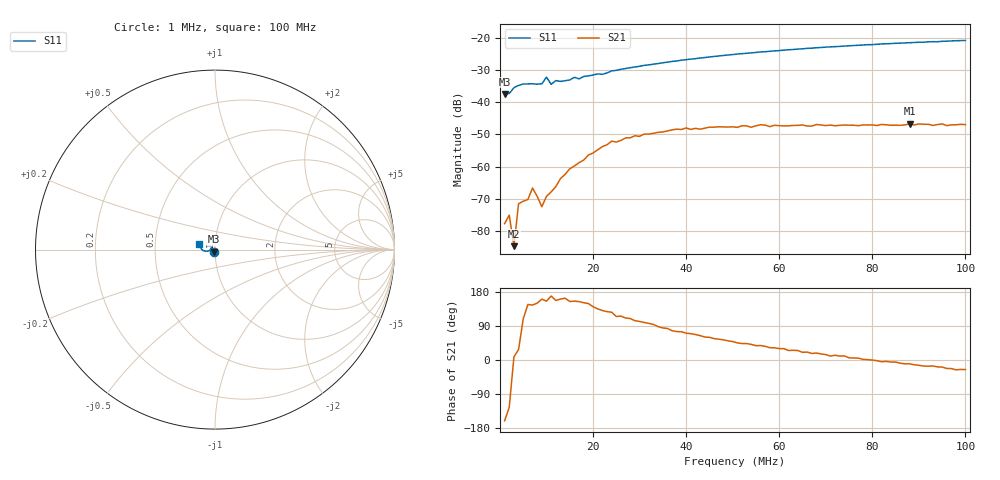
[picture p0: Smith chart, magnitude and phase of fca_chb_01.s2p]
# HZ S RI R 50
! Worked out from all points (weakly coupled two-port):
!   100 points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, 1 MHz to 100 MHz, reference 50 ohm
!   highest |S21| = -46.68 dB at 88 MHz (marker M1); lowest = -84.8 dB at 3 MHz (marker M2)
!   lowest |S11| = -37.4 dB at 1 MHz (marker M3), VSWR 1.03, Z = 49.3 - j1.14 ohm
!   |S11| at or under -10 dB: start of sweep to end of sweep
!   S12 and S22 are empty: the file has one direction only
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1000001  -0.00682 -0.0116  -0.000121 -4.31e-05  0 0  0 0
2000001  -0.013 0.00448  -9.89e-05 -0.000144  0 0  0 0
3000001  -0.0143 0.00896  5.67e-05 8.18e-06  0 0  0 0
4000001  -0.0153 0.0101  0.000232 0.000122  0 0  0 0
6000001  -0.0164 0.0103  -0.000255 0.000169  0 0  0 0
7000001  -0.017 0.00948  -0.000378 0.000265  0 0  0 0
9000001  -0.0179 0.00756  -0.000223 7.85e-05  0 0  0 0
1e7  -0.0229 0.0093  -0.000311 0.000143  0 0  0 0
1.1e7  -0.0191 0.00122  -0.000394 7.78e-05  0 0  0 0
1.2e7  -0.0218 0.00158  -0.000446 0.000188  0 0  0 0
1.3e7  -0.0212 0.000607  -0.000611 0.000213  0 0  0 0
1.5e7  -0.0223 0.00168  -0.000831 0.000396  0 0  0 0
1.8e7  -0.0252 -0.00192  -0.0011 0.000608  0 0  0 0
2.4e7  -0.0306 -0.00443  -0.00146 0.00201  0 0  0 0
3.4e7  -0.0394 -0.00823  0.000122 0.00341  0 0  0 0
4e7  -0.0453 -0.00917  0.00131 0.00376  0 0  0 0
5.1e7  -0.0559 -0.00847  0.00288 0.00289  0 0  0 0
5.6e7  -0.0606 -0.00712  0.00352 0.00277  0 0  0 0
6.7e7  -0.0699 -0.00155  0.00407 0.00126  0 0  0 0
8.4e7  -0.0815 0.013  0.00438 -0.000406  0 0  0 0
8.8e7  -0.0833 0.0171  0.00456 -0.000814  0 0  0 0
1e8  -0.0864 0.0322  0.00406 -0.00191  0 0  0 0
